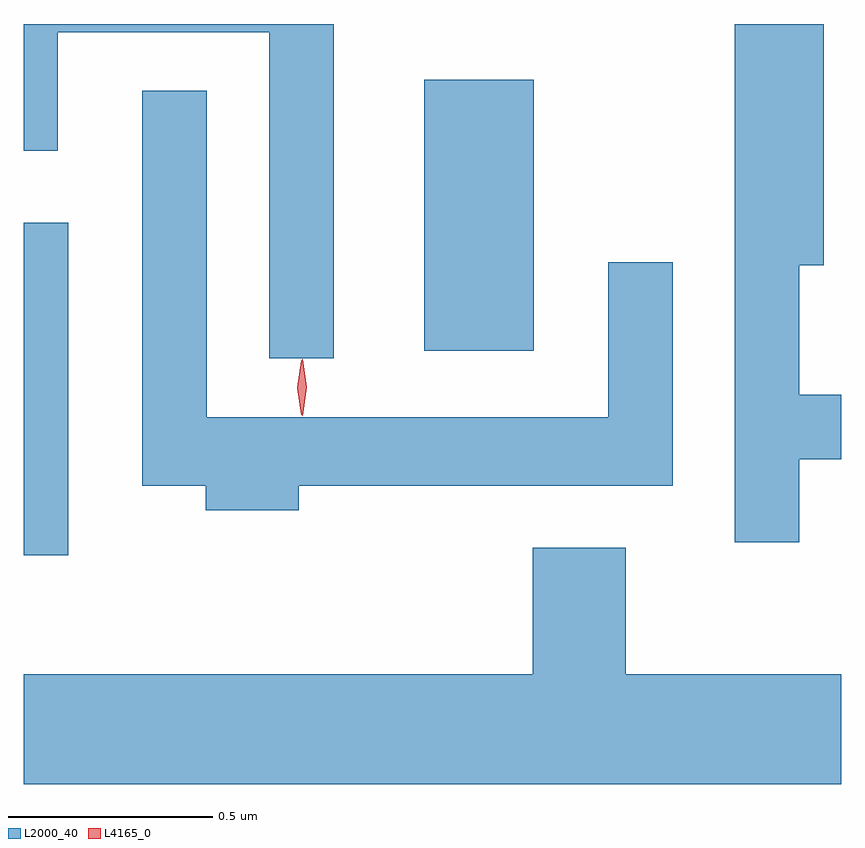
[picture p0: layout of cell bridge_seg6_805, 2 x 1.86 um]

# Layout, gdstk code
import gdstk
lib = gdstk.Library(unit=1e-6, precision=1e-09)
def R(c, l, rs):  # rectangles x0, y0, x1, y1
    for r in rs: c.add(gdstk.rectangle(r[:2], r[2:], *l))
def P(c, l, *ps):  # polygons
    for p in ps: c.add(gdstk.Polygon(p, *l))
L2000_40 = (2000, 40)
L4165_0 = (4165, 0)

bridge_seg6_805 = lib.new_cell('bridge_seg6_805')
R(bridge_seg6_805, L2000_40, [(451.446,1583.896,451.554,1584.709), (452.426,1584.396,452.694,1585.059)])
P(bridge_seg6_805, L2000_40, [(453.344,1584.131),(453.446,1584.131),(453.446,1584.289),(453.344,1584.289),(453.344,1584.606),(453.404,1584.606),(453.404,1585.196),(453.186,1585.196),(453.186,1583.928),(453.344,1583.928)],
  [(452.204,1585.196),(451.446,1585.196),(451.446,1584.886),(451.529,1584.886),(451.529,1585.176),(452.046,1585.176),(452.046,1584.378),(452.204,1584.378)],
  [(452.119,1584.066),(453.034,1584.066),(453.034,1584.613),(452.876,1584.613),(452.876,1584.234),(451.894,1584.234),(451.894,1585.033),(451.736,1585.033),(451.736,1584.066),(451.891,1584.066),(451.891,1584.006),(452.119,1584.006)],
  [(453.446,1583.604),(452.919,1583.604),(452.919,1583.914),(452.691,1583.914),(452.691,1583.604),(451.446,1583.604),(451.446,1583.336),(453.446,1583.336)])
P(bridge_seg6_805, L4165_0, [(452.127,1584.237),(452.118,1584.307),(452.127,1584.376),(452.128,1584.376),(452.128,1584.376),(452.138,1584.307),(452.128,1584.237),(452.128,1584.237)],
  [(452.125,1584.24),(452.125,1584.24),(452.115,1584.306),(452.125,1584.372),(452.125,1584.373),(452.126,1584.372),(452.135,1584.306),(452.126,1584.24)])

lib.write_gds('bridge_seg6_805.gds')
